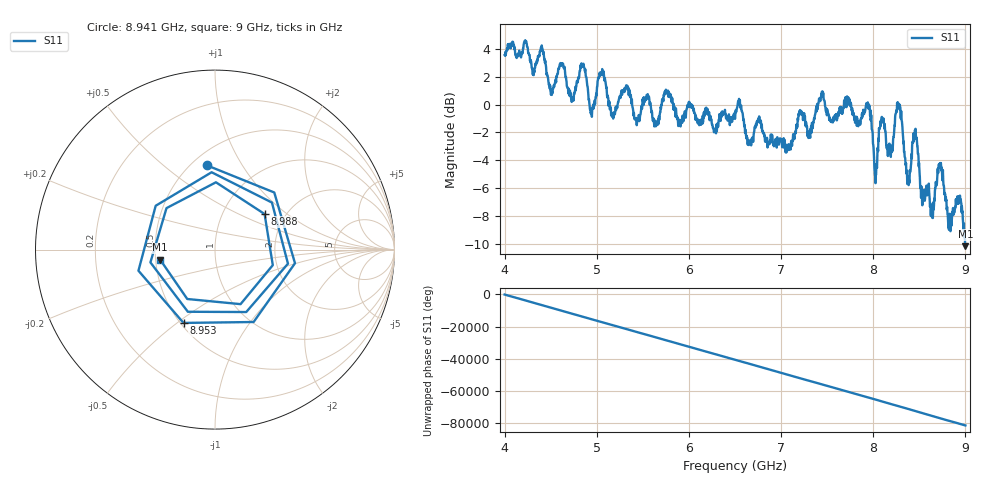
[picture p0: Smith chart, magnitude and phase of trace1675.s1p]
! Created with skrf 1.8.0 (http://scikit-rf.org).
# Hz S RI R 50.0
!freq ReS11 ImS11
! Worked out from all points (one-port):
!   1601 points, 4 GHz to 9 GHz, reference 50 ohm
!   lowest |S11| = -10.1 dB at 9 GHz (marker M1), VSWR 1.90, Z = 26.4 - j3.26 ohm
!   |S11| at or under -10 dB: 8.996911 GHz to end of sweep
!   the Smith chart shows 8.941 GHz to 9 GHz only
!   S11 on the Smith chart (normalised r, x): 8.941 GHz: 0.59, +0.71; 8.953 GHz: 0.52, -0.53; 8.988 GHz: 1.57, +0.70; 9 GHz: 0.53, -0.07
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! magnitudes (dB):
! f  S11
! 4 GHz  3.6
! 4.406 GHz  4.1
! 4.512 GHz  0.7
! 4.625 GHz  2.9
! 4.731 GHz  0.3
! 4.85 GHz  2.7
! 4.947 GHz  -0.9
! 5.05 GHz  2.3
! 5.25 GHz  0.6
! 5.875 GHz  -1.0
! 6.5 GHz  -1.0
! 7.125 GHz  -2.6
! 7.434 GHz  0.6
! 7.75 GHz  0.2
! 7.944 GHz  0.0
! 8.028 GHz  -5.0
! 8.088 GHz  -1.0
! 8.184 GHz  -3.0
! 8.278 GHz  -0.1
! 8.375 GHz  -5.4
! 8.45 GHz  -2.3
! 8.634 GHz  -7.6
! 8.722 GHz  -4.2
! 8.831 GHz  -7.8
! 8.941 GHz  -6.5
! 8.953 GHz  -7.0
! 8.988 GHz  -9.4
! 9 GHz  -10.1
